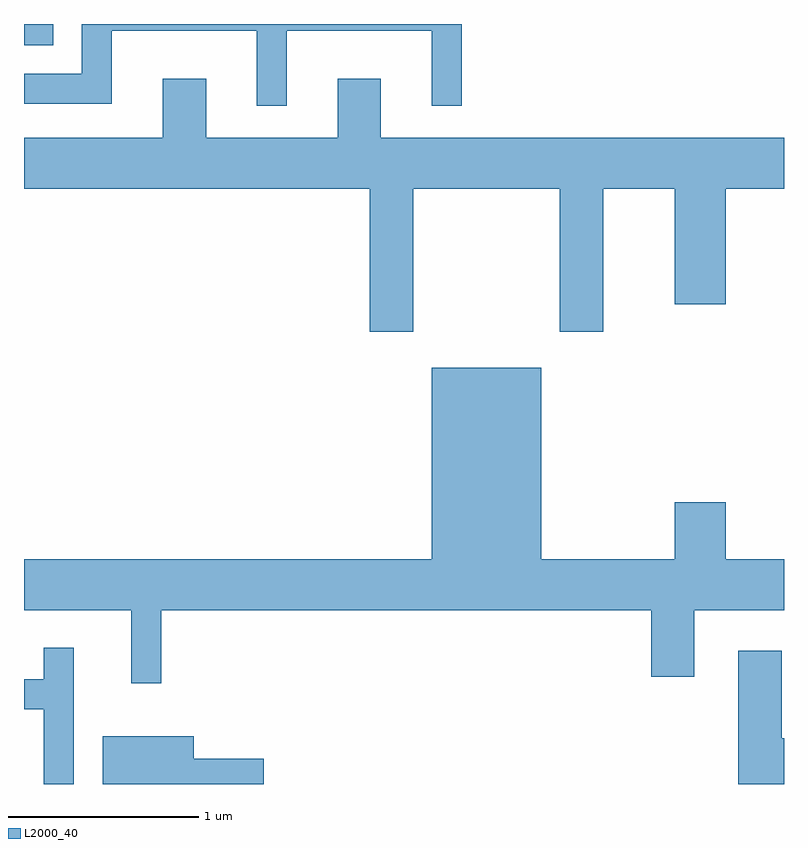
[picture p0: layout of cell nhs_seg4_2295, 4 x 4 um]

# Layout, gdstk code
import gdstk
lib = gdstk.Library(unit=1e-6, precision=1e-09)
def R(c, l, rs):  # rectangles x0, y0, x1, y1
    for r in rs: c.add(gdstk.rectangle(r[:2], r[2:], *l))
def P(c, l, *ps):  # polygons
    for p in ps: c.add(gdstk.Polygon(p, *l))
L2000_40 = (2000, 40)

nhs_seg4_2295 = lib.new_cell('nhs_seg4_2295')
R(nhs_seg4_2295, L2000_40, [(251.611,1359.871,251.764,1359.982)])
P(nhs_seg4_2295, L2000_40, [(252.994,1359.946),(253.756,1359.946),(253.756,1359.553),(253.914,1359.553),(253.914,1359.982),(251.916,1359.982),(251.916,1359.719),(251.611,1359.719),(251.611,1359.561),(252.074,1359.561),(252.074,1359.946),(252.836,1359.946),(252.836,1359.553),(252.994,1359.553)],
  [(253.431,1358.361),(253.659,1358.361),(253.659,1359.116),(254.431,1359.116),(254.431,1358.361),(254.659,1358.361),(254.659,1359.116),(255.036,1359.116),(255.036,1358.506),(255.304,1358.506),(255.304,1359.116),(255.611,1359.116),(255.611,1359.384),(253.489,1359.384),(253.489,1359.694),(253.261,1359.694),(253.261,1359.384),(252.569,1359.384),(252.569,1359.694),(252.341,1359.694),(252.341,1359.384),(251.611,1359.384),(251.611,1359.116),(253.431,1359.116)],
  [(252.334,1356.896),(254.911,1356.896),(254.911,1356.546),(255.139,1356.546),(255.139,1356.896),(255.611,1356.896),(255.611,1357.164),(255.304,1357.164),(255.304,1357.464),(255.036,1357.464),(255.036,1357.164),(254.334,1357.164),(254.334,1358.174),(253.756,1358.174),(253.756,1357.164),(251.611,1357.164),(251.611,1356.896),(252.176,1356.896),(252.176,1356.513),(252.334,1356.513)],
  [(251.874,1356.698),(251.716,1356.698),(251.716,1356.534),(251.611,1356.534),(251.611,1356.376),(251.716,1356.376),(251.716,1355.982),(251.874,1355.982)],
  [(255.611,1356.224),(255.599,1356.224),(255.599,1356.684),(255.371,1356.684),(255.371,1355.982),(255.611,1355.982)],
  [(252.874,1356.114),(252.504,1356.114),(252.504,1356.234),(252.026,1356.234),(252.026,1355.982),(252.874,1355.982)])

lib.write_gds('nhs_seg4_2295.gds')
